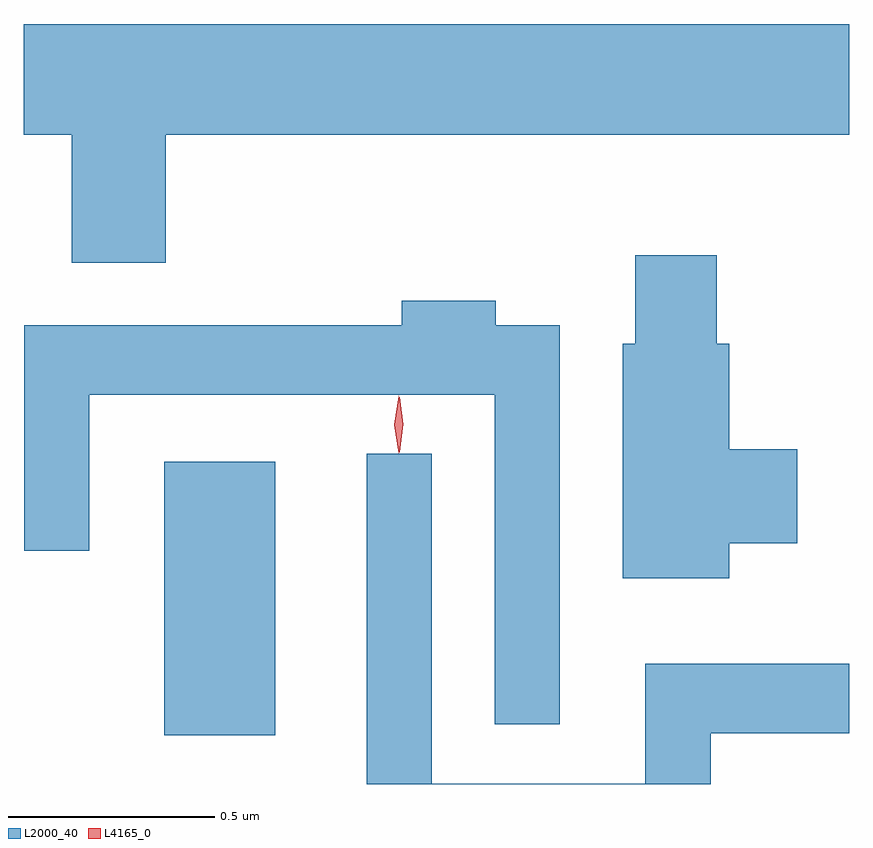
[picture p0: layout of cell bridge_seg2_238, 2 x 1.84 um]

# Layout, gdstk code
import gdstk
lib = gdstk.Library(unit=1e-6, precision=1e-09)
def R(c, l, rs):  # rectangles x0, y0, x1, y1
    for r in rs: c.add(gdstk.rectangle(r[:2], r[2:], *l))
def P(c, l, *ps):  # polygons
    for p in ps: c.add(gdstk.Polygon(p, *l))
L2000_40 = (2000, 40)
L4165_0 = (4165, 0)

bridge_seg2_238 = lib.new_cell('bridge_seg2_238')
R(bridge_seg2_238, L2000_40, [(544.196,1053.521,544.464,1054.184)])
P(bridge_seg2_238, L2000_40, [(544.199,1054.976),(545.855,1054.976),(545.855,1055.244),(543.855,1055.244),(543.855,1054.976),(543.971,1054.976),(543.971,1054.666),(544.199,1054.666)],
  [(545.564,1053.986),(545.729,1053.986),(545.729,1054.214),(545.564,1054.214),(545.564,1054.469),(545.534,1054.469),(545.534,1054.684),(545.336,1054.684),(545.336,1054.469),(545.306,1054.469),(545.306,1053.901),(545.564,1053.901)],
  [(545.154,1054.514),(544.999,1054.514),(544.999,1054.574),(544.771,1054.574),(544.771,1054.514),(543.856,1054.514),(543.856,1053.968),(544.014,1053.968),(544.014,1054.346),(544.996,1054.346),(544.996,1053.548),(545.154,1053.548)],
  [(545.519,1053.526),(545.855,1053.526),(545.855,1053.694),(545.361,1053.694),(545.361,1053.404),(544.844,1053.404),(544.844,1054.203),(544.686,1054.203),(544.686,1053.403),(545.519,1053.403)])
P(bridge_seg2_238, L4165_0, [(544.765,1054.207),(544.765,1054.207),(544.755,1054.274),(544.765,1054.34),(544.765,1054.34),(544.766,1054.34),(544.775,1054.274),(544.766,1054.207)],
  [(544.763,1054.204),(544.763,1054.204),(544.753,1054.273),(544.763,1054.342),(544.763,1054.343),(544.764,1054.342),(544.773,1054.273),(544.764,1054.204)])

lib.write_gds('bridge_seg2_238.gds')
